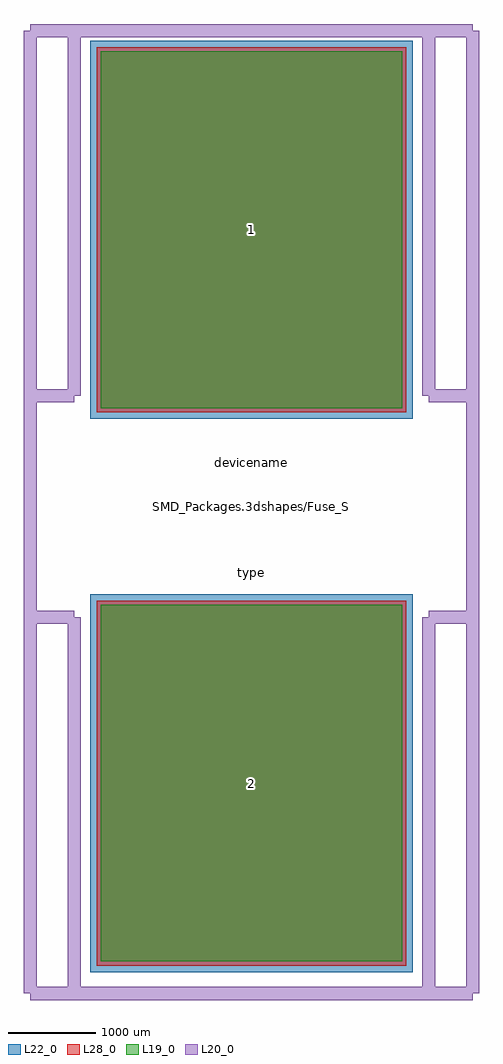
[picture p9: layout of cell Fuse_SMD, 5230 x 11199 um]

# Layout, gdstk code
import gdstk
lib = gdstk.Library(unit=1e-6, precision=1e-09)
def R(c, l, rs):  # rectangles x0, y0, x1, y1
    for r in rs: c.add(gdstk.rectangle(r[:2], r[2:], *l))
L19_0 = (19, 0)
L20_0 = (20, 0)
L22_0 = (22, 0)
L28_0 = (28, 0)

fuse_smd = lib.new_cell('Fuse_SMD')
R(fuse_smd, L19_0, [(-1728,-5220.5,1728,-1129.5), (-1728,1129.5,1728,5220.5)])
R(fuse_smd, L22_0, [(-1853,-5345.5,1853,-1004.5), (-1853,1004.5,1853,5345.5)])
R(fuse_smd, L28_0, [(-1778,-5270.5,1778,-1079.5), (-1778,1079.5,1778,5270.5)])
fuse_smd.add(gdstk.FlexPath([(-2540,5461),(2540,5461)], 149.998, ends="flush", simple_path=True, layer=20, datatype=0))  # L20_0
fuse_smd.add(gdstk.FlexPath([(2540,-5588),(-2540,-5588)], 149.998, ends="flush", simple_path=True, layer=20, datatype=0))  # L20_0
fuse_smd.add(gdstk.FlexPath([(2540,-5588),(2540,5461)], 149.998, ends="flush", simple_path=True, layer=20, datatype=0))  # L20_0
fuse_smd.add(gdstk.FlexPath([(-2540,5461),(-2540,-5588)], 149.998, ends="flush", simple_path=True, layer=20, datatype=0))  # L20_0
fuse_smd.add(gdstk.FlexPath([(-2032,1270),(-2540,1270)], 149.998, ends="flush", simple_path=True, layer=20, datatype=0))  # L20_0
fuse_smd.add(gdstk.FlexPath([(-2032,5461),(-2032,1270)], 149.998, ends="flush", simple_path=True, layer=20, datatype=0))  # L20_0
fuse_smd.add(gdstk.FlexPath([(2032,1270),(2540,1270)], 149.998, ends="flush", simple_path=True, layer=20, datatype=0))  # L20_0
fuse_smd.add(gdstk.FlexPath([(2032,5461),(2032,1270)], 149.998, ends="flush", simple_path=True, layer=20, datatype=0))  # L20_0
fuse_smd.add(gdstk.FlexPath([(2032,-1270),(2540,-1270)], 149.998, ends="flush", simple_path=True, layer=20, datatype=0))  # L20_0
fuse_smd.add(gdstk.FlexPath([(2032,-5588),(2032,-1270)], 149.998, ends="flush", simple_path=True, layer=20, datatype=0))  # L20_0
fuse_smd.add(gdstk.FlexPath([(-2032,-1270),(-2540,-1270)], 149.998, ends="flush", simple_path=True, layer=20, datatype=0))  # L20_0
fuse_smd.add(gdstk.FlexPath([(-2032,-5588),(-2032,-1270)], 149.998, ends="flush", simple_path=True, layer=20, datatype=0))  # L20_0
fuse_smd.add(gdstk.Label('SMD_Packages.3dshapes/Fuse_SMD.wrl', (0,0), layer=12, texttype=0))
fuse_smd.add(gdstk.Label('2', (0,-3175), layer=28, texttype=0))
fuse_smd.add(gdstk.Label('1', (0,3175), layer=28, texttype=0))
fuse_smd.add(gdstk.Label('type', (0,-762), layer=9, texttype=0))
fuse_smd.add(gdstk.Label('devicename', (0,508), layer=9, texttype=0))

lib.write_gds('Fuse_SMD.gds')
